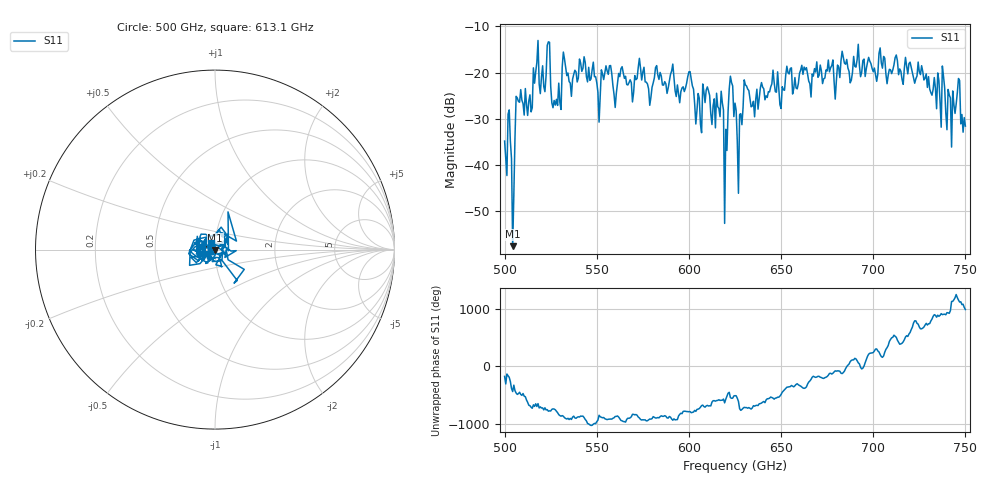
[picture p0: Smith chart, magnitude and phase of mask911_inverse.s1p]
!Created with skrf (http://scikit-rf.org).
# GHz S MA R 50.0
!freq magS11 angS11
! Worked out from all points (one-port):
!   401 points, 500 GHz to 750 GHz, reference 50 ohm
!   lowest |S11| = -57.5 dB at 504.4 GHz (marker M1), VSWR 1.00, Z = 50 - j0.131 ohm
!   |S11| at or under -10 dB: start of sweep to end of sweep
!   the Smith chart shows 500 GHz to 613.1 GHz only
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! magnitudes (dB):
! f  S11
! 500 GHz  -34.8
! 502.5 GHz  -28.1
! 504.4 GHz  -57.5
! 507.5 GHz  -26.2
! 513.8 GHz  -24.8
! 516.9 GHz  -19.8
! 520.6 GHz  -18.5
! 523.8 GHz  -13.4
! 526.9 GHz  -26.0
! 531.2 GHz  -18.8
! 560 GHz  -27.5
! 562.5 GHz  -20.9
! 593.8 GHz  -22.7
! 600 GHz  -19.8
! 605.6 GHz  -25.6
! 616.2 GHz  -27.7
! 620 GHz  -32.3
! 622.5 GHz  -20.8
! 625 GHz  -26.6
! 627.5 GHz  -29.1
! 631.2 GHz  -22.9
! 635 GHz  -26.2
! 656.2 GHz  -24.6
! 687.5 GHz  -22.2
! 718.8 GHz  -20.3
! 741.2 GHz  -24.9
! 745.6 GHz  -24.4
! 750 GHz  -31.6
